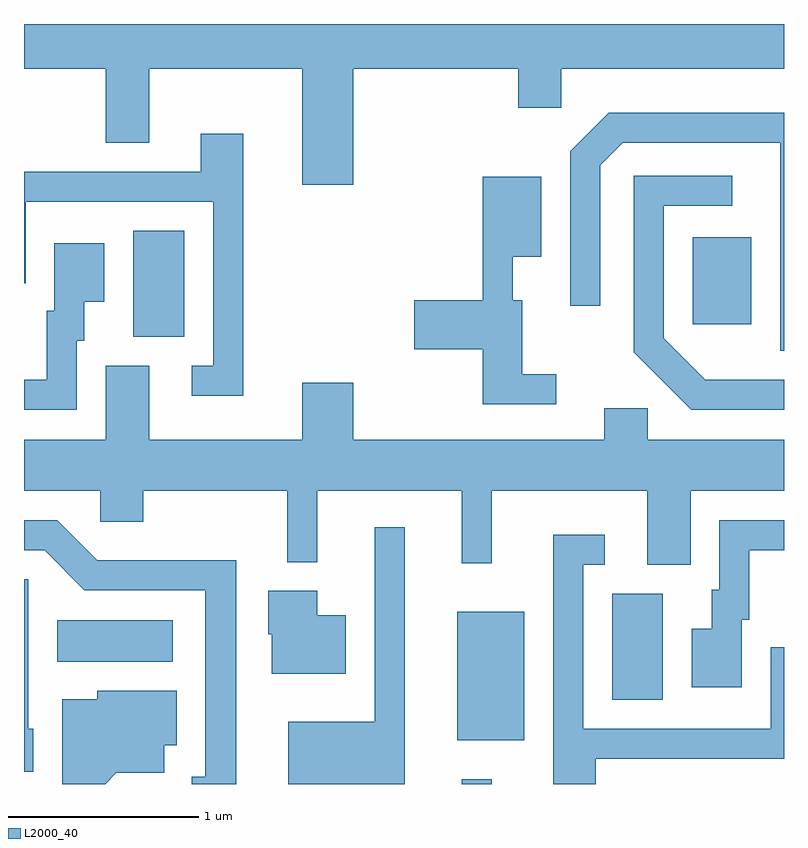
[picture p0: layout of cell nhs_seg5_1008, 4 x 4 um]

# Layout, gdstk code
import gdstk
lib = gdstk.Library(unit=1e-6, precision=1e-09)
def R(c, l, rs):  # rectangles x0, y0, x1, y1
    for r in rs: c.add(gdstk.rectangle(r[:2], r[2:], *l))
def P(c, l, *ps):  # polygons
    for p in ps: c.add(gdstk.Polygon(p, *l))
L2000_40 = (2000, 40)

nhs_seg5_1008 = lib.new_cell('nhs_seg5_1008')
R(nhs_seg5_1008, L2000_40, [(215.916,1524.072,216.074,1524.098), (215.891,1524.301,216.244,1524.979), (216.706,1524.516,216.974,1525.074), (213.786,1524.716,214.394,1524.934), (214.186,1526.426,214.454,1526.984), (217.131,1526.491,217.439,1526.949)])
P(nhs_seg5_1008, L2000_40, [(215.344,1527.836),(216.211,1527.836),(216.211,1527.631),(216.439,1527.631),(216.439,1527.836),(217.611,1527.836),(217.611,1528.072),(213.611,1528.072),(213.611,1527.836),(214.041,1527.836),(214.041,1527.446),(214.269,1527.446),(214.269,1527.836),(215.076,1527.836),(215.076,1527.226),(215.344,1527.226)],
  [(217.611,1527.604),(216.689,1527.604),(216.486,1527.402),(216.486,1526.588),(216.644,1526.588),(216.644,1527.329),(216.762,1527.446),(217.591,1527.446),(217.591,1526.351),(217.611,1526.351)],
  [(214.764,1527.494),(214.541,1527.494),(214.541,1527.294),(213.611,1527.294),(213.611,1526.708),(213.619,1526.708),(213.619,1527.136),(214.606,1527.136),(214.606,1526.274),(214.493,1526.274),(214.493,1526.116),(214.764,1526.116)],
  [(217.611,1526.199),(217.197,1526.199),(216.979,1526.417),(216.979,1527.116),(217.338,1527.116),(217.338,1527.274),(216.821,1527.274),(216.821,1526.344),(217.124,1526.041),(217.611,1526.041)],
  [(216.413,1526.229),(216.234,1526.229),(216.234,1526.619),(216.184,1526.619),(216.184,1526.846),(216.334,1526.846),(216.334,1527.269),(216.026,1527.269),(216.026,1526.619),(215.666,1526.619),(215.666,1526.361),(216.026,1526.361),(216.026,1526.071),(216.413,1526.071)],
  [(213.889,1526.406),(213.929,1526.406),(213.929,1526.611),(214.034,1526.611),(214.034,1526.919),(213.771,1526.919),(213.771,1526.564),(213.731,1526.564),(213.731,1526.199),(213.611,1526.199),(213.611,1526.041),(213.889,1526.041)],
  [(217.119,1525.616),(217.611,1525.616),(217.611,1525.884),(216.894,1525.884),(216.894,1526.049),(216.666,1526.049),(216.666,1525.884),(215.344,1525.884),(215.344,1526.184),(215.076,1526.184),(215.076,1525.884),(214.269,1525.884),(214.269,1526.274),(214.041,1526.274),(214.041,1525.884),(213.611,1525.884),(213.611,1525.616),(214.011,1525.616),(214.011,1525.451),(214.239,1525.451),(214.239,1525.616),(214.996,1525.616),(214.996,1525.238),(215.154,1525.238),(215.154,1525.616),(215.916,1525.616),(215.916,1525.233),(216.074,1525.233),(216.074,1525.616),(216.891,1525.616),(216.891,1525.226),(217.119,1525.226)],
  [(217.389,1524.936),(217.429,1524.936),(217.429,1525.301),(217.611,1525.301),(217.611,1525.459),(217.271,1525.459),(217.271,1525.094),(217.231,1525.094),(217.231,1524.889),(217.126,1524.889),(217.126,1524.581),(217.389,1524.581)],
  [(214.729,1525.249),(213.997,1525.249),(213.787,1525.459),(213.611,1525.459),(213.611,1525.301),(213.719,1525.301),(213.929,1525.091),(214.566,1525.091),(214.566,1524.109),(214.493,1524.109),(214.493,1524.072),(214.729,1524.072)],
  [(215.614,1525.423),(215.456,1525.423),(215.456,1524.399),(215.001,1524.399),(215.001,1524.072),(215.614,1524.072)],
  [(216.619,1524.206),(217.611,1524.206),(217.611,1524.793),(217.541,1524.793),(217.541,1524.364),(216.554,1524.364),(216.554,1525.226),(216.668,1525.226),(216.668,1525.384),(216.396,1525.384),(216.396,1524.072),(216.619,1524.072)],
  [(213.659,1524.364),(213.634,1524.364),(213.634,1525.149),(213.611,1525.149),(213.611,1524.136),(213.659,1524.136)],
  [(215.304,1524.959),(215.154,1524.959),(215.154,1525.089),(214.896,1525.089),(214.896,1524.861),(214.916,1524.861),(214.916,1524.651),(215.304,1524.651)],
  [(214.097,1524.131),(214.349,1524.131),(214.349,1524.276),(214.414,1524.276),(214.414,1524.564),(213.996,1524.564),(213.996,1524.519),(213.811,1524.519),(213.811,1524.072),(214.038,1524.072)])

lib.write_gds('nhs_seg5_1008.gds')
